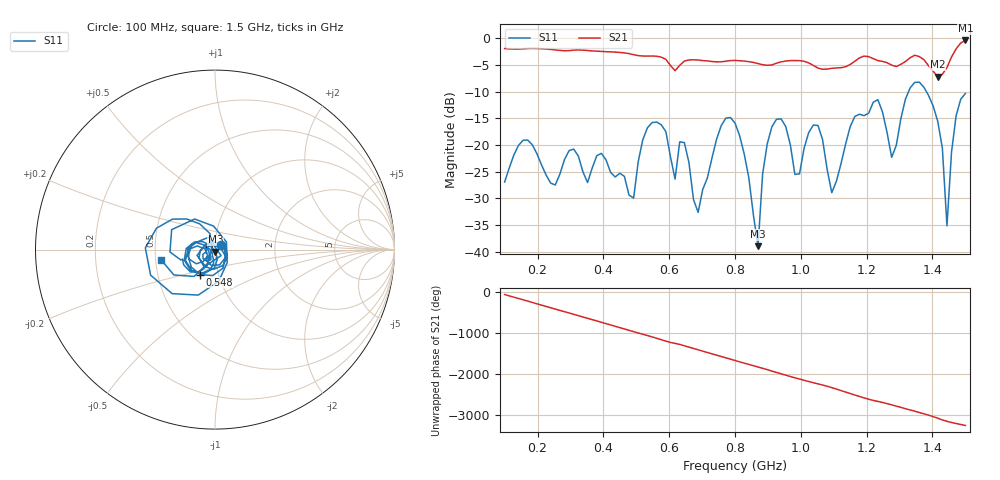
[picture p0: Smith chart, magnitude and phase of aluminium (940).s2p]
! NanoVNA-App
! Date: 2025-09-25 15:02:36
! Start: 100MHz Stop: 1,5GHz Points: 101
! S-Parameter data: F S11 S21 S12 S22
# Hz S RI R 50
!  Frequency  S11_Real  S11_Imag  S21_Real  S21_Imag  S12_Real  S12_Imag  S22_Real  S22_Imag
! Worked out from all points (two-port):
!   101 points, 100 MHz to 1.5 GHz, reference 50 ohm
!   highest |S21| = -0.40 dB at 1.5 GHz (marker M1); lowest = -7.2 dB at 1.416 GHz (marker M2)
!   |S21| within 3 dB of the highest: start of sweep to 565.4 MHz; 1.459 GHz to end of sweep (the widest 2 of 4)
!   lowest |S11| = -39.0 dB at 870 MHz (marker M3), VSWR 1.02, Z = 50.2 - j1.1 ohm
!   |S11| at or under -10 dB: start of sweep to 1.327 GHz; 1.382 GHz to end of sweep
!   S12 and S22 are empty: the file has one direction only
!   S11 on the Smith chart (normalised r, x): 100 MHz: 1.07, +0.06; 548 MHz: 0.82, -0.23; 1.5 GHz: 0.54, -0.07
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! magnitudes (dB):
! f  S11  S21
! 100 MHz  -27.0  -1.9
! 156 MHz  -19.1  -2.0
! 338 MHz  -25.0  -2.2
! 492 MHz  -29.9  -3.1
! 548 MHz  -15.8  -3.3
! 576 MHz  -16.2  -3.5
! 618 MHz  -26.4  -6.1
! 646 MHz  -19.6  -4.3
! 688 MHz  -32.6  -4.1
! 800 MHz  -15.9  -4.1
! 870 MHz  -39.0  -4.7
! 912 MHz  -16.6  -5.0
! 982 MHz  -25.5  -4.2
! 1.038 GHz  -16.3  -5.1
! 1.094 GHz  -29.0  -5.6
! 1.22 GHz  -12.0  -3.8
! 1.276 GHz  -22.3  -5.0
! 1.346 GHz  -8.3  -3.2
! 1.416 GHz  -15.6  -7.2
! 1.444 GHz  -35.2  -5.5
! 1.472 GHz  -14.4  -2.0
! 1.5 GHz  -10.3  -0.4
